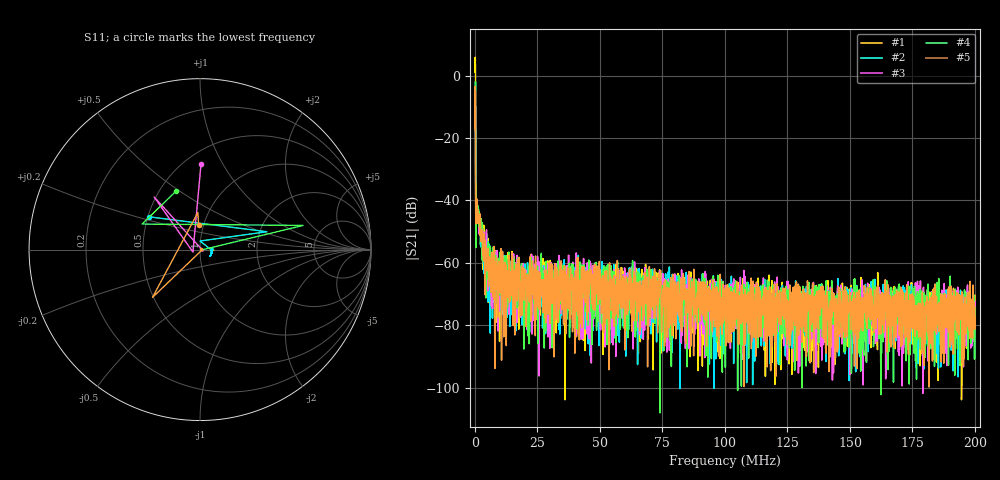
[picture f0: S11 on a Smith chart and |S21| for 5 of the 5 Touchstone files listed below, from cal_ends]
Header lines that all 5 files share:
! CHANNEL.1
! TR.MEASUREMENT
! CORRECTED.DATA
# GHZ S RI R 50.0
! FREQ.GHZ  S11RE  S11IM  S21RE  S21IM  S12RE  S12IM  S22RE  S22IM
!; PortSelection: Port_12
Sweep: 50 kHz to 200 MHz
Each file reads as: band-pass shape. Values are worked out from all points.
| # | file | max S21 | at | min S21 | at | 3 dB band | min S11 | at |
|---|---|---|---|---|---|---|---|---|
| 1 | noisediode_0.s2p | 5.86 dB | 150 kHz | -103.8 dB | 36.06 MHz | 150 kHz-150 kHz | -24.0 dB | 5.251 MHz |
| 2 | noisediode_2.s2p | -8.16 dB | 50 kHz | -100.2 dB | 81.97 MHz | 50 kHz-150 kHz | -26.0 dB | 250 kHz |
| 3 | testsrc_0.s2p | -5.74 dB | 50 kHz | -101.8 dB | 179.2 MHz | 50 kHz-150 kHz | -45.2 dB | 750.2 kHz |
| 4 | testsrc_1.s2p | -1.97 dB | 250 kHz | -108.1 dB | 74.07 MHz | 250 kHz-250 kHz | -46.5 dB | 2.551 MHz |
| 5 | testsrc_2.s2p | -3.48 dB | 150 kHz | -99.7 dB | 181.6 MHz | 150 kHz-150 kHz | -48.3 dB | 750.2 kHz |
